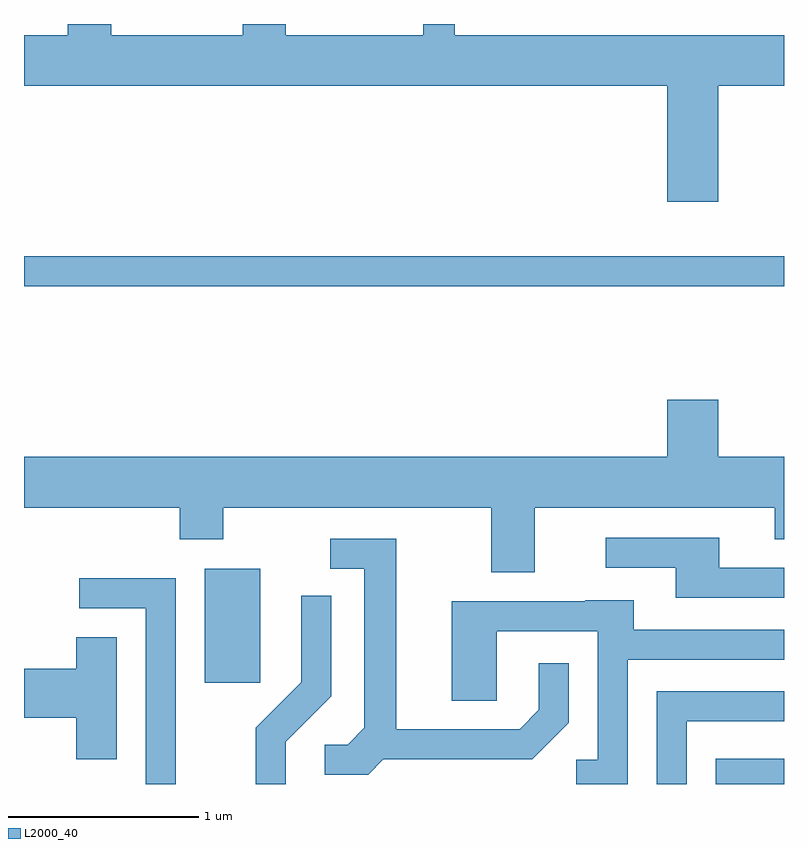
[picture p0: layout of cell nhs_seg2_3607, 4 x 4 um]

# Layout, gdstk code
import gdstk
lib = gdstk.Library(unit=1e-6, precision=1e-09)
def R(c, l, rs):  # rectangles x0, y0, x1, y1
    for r in rs: c.add(gdstk.rectangle(r[:2], r[2:], *l))
def P(c, l, *ps):  # polygons
    for p in ps: c.add(gdstk.Polygon(p, *l))
L2000_40 = (2000, 40)

nhs_seg2_3607 = lib.new_cell('nhs_seg2_3607')
R(nhs_seg2_3607, L2000_40, [(295.251,995.802,295.611,995.934), (292.561,996.336,292.854,996.934), (291.611,998.421,295.611,998.579)])
P(nhs_seg2_3607, L2000_40, [(295.264,999.476),(295.611,999.476),(295.611,999.744),(293.879,999.744),(293.879,999.802),(293.711,999.802),(293.711,999.744),(292.989,999.744),(292.989,999.802),(292.761,999.802),(292.761,999.744),(292.069,999.744),(292.069,999.802),(291.841,999.802),(291.841,999.744),(291.611,999.744),(291.611,999.476),(294.996,999.476),(294.996,998.866),(295.264,998.866)],
  [(294.299,997.256),(295.561,997.256),(295.561,997.091),(295.611,997.091),(295.611,997.524),(295.264,997.524),(295.264,997.824),(294.996,997.824),(294.996,997.524),(291.611,997.524),(291.611,997.256),(292.431,997.256),(292.431,997.091),(292.659,997.091),(292.659,997.256),(294.071,997.256),(294.071,996.916),(294.299,996.916)],
  [(295.611,996.939),(295.269,996.939),(295.269,997.099),(294.673,997.099),(294.673,996.941),(295.041,996.941),(295.041,996.781),(295.611,996.781)],
  [(293.502,995.931),(294.287,995.931),(294.479,996.124),(294.479,996.438),(294.321,996.438),(294.321,996.192),(294.219,996.089),(293.569,996.089),(293.569,997.094),(293.223,997.094),(293.223,996.936),(293.401,996.936),(293.401,996.097),(293.314,996.009),(293.193,996.009),(293.193,995.851),(293.422,995.851)],
  [(292.409,996.884),(291.903,996.884),(291.903,996.726),(292.251,996.726),(292.251,995.802),(292.409,995.802)],
  [(292.989,996.024),(293.229,996.264),(293.229,996.793),(293.071,996.793),(293.071,996.337),(292.831,996.097),(292.831,995.802),(292.989,995.802)],
  [(294.789,996.456),(295.611,996.456),(295.611,996.614),(294.819,996.614),(294.819,996.769),(294.565,996.769),(294.565,996.764),(293.861,996.764),(293.861,996.241),(294.099,996.241),(294.099,996.606),(294.631,996.606),(294.631,995.929),(294.518,995.929),(294.518,995.802),(294.789,995.802)],
  [(292.099,996.574),(291.886,996.574),(291.886,996.409),(291.611,996.409),(291.611,996.151),(291.886,996.151),(291.886,995.931),(292.099,995.931)],
  [(295.099,996.131),(295.611,996.131),(295.611,996.289),(294.941,996.289),(294.941,995.802),(295.099,995.802)])

lib.write_gds('nhs_seg2_3607.gds')
